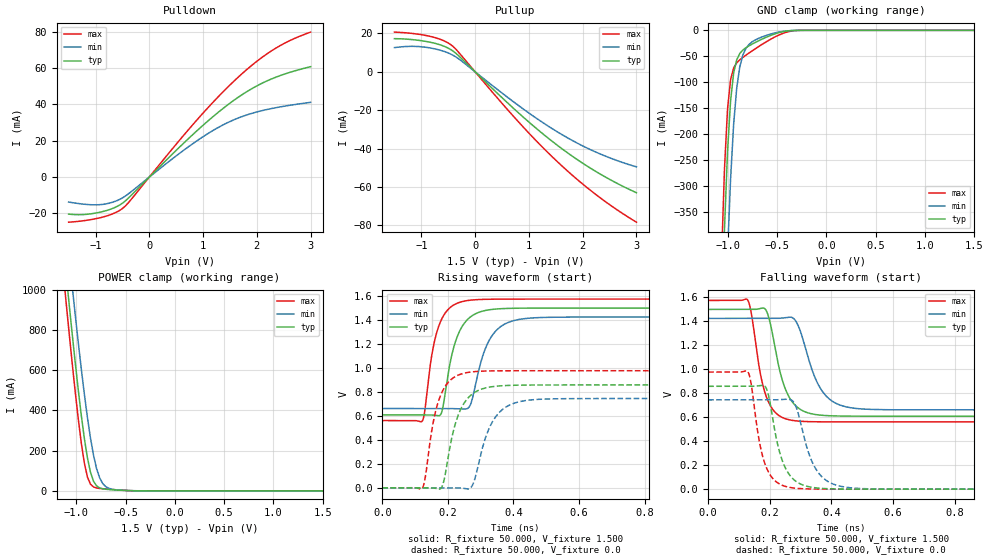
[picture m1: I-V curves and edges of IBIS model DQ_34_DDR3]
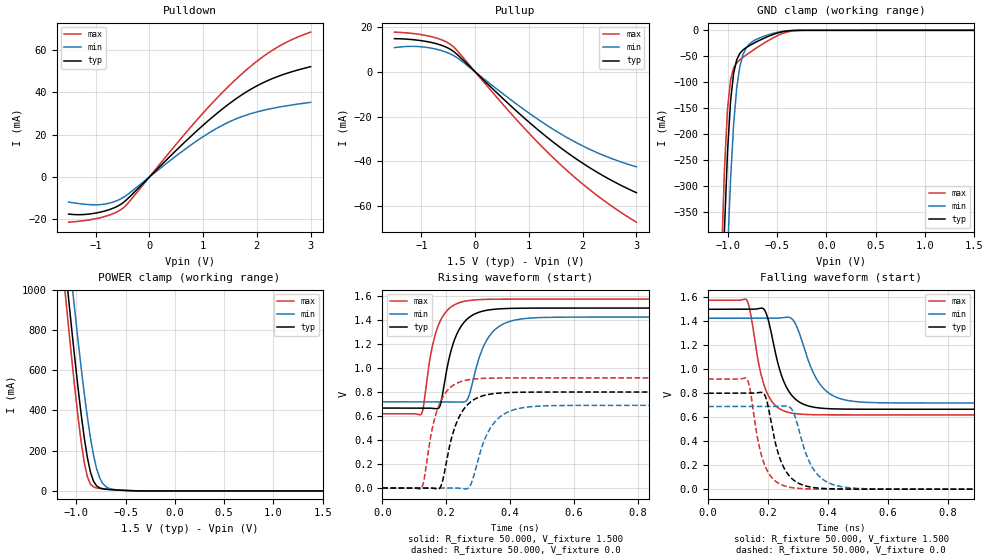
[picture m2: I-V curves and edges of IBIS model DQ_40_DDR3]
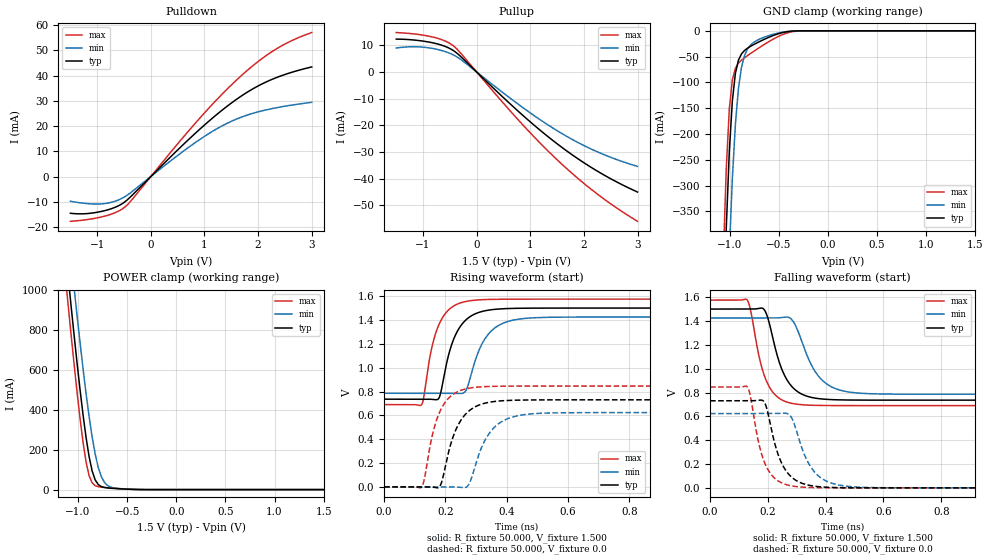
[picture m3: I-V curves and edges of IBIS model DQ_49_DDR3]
[IBIS ver] 5.0
[File name]  t527_ddr3_allwinner.ibs
[File Rev]  1.0
[Date]   November 14, 2022
|   Component IO_DDR3
[Component] IO_DDR3
[Manufacturer] allwinner
[Package]
| variable   typ   min   max
R_pkg   0.0   0.0   0.0
L_pkg   0.0H   0.0H   0.0H
C_pkg   0.0F   0.0F   0.0F
[Pin]  signal_name   model_name   R_pin   L_pin   C_pin
AK33	SA0	CA_DDR3	0.46485	3.05E-09	1.51E-12
AG30	SA1	CA_DDR3	0.29715	2.09E-09	1.18E-12
AJ33	SA2	CA_DDR3	0.41469	2.81E-09	1.29E-12
AL27	SA3	CA_DDR3	0.39476	2.64E-09	1.37E-12
AH25	SA4	CA_DDR3	0.26569	1.83E-09	1.18E-12
AK27	SA5	CA_DDR3	0.32888	2.30E-09	1.35E-12
AN27	SA6	CA_DDR3	0.44924	3.13E-09	1.41E-12
AM33	SA7	CA_DDR3	0.56341	3.55E-09	1.70E-12
AL25	SA8	CA_DDR3	0.37181	2.57E-09	1.30E-12
AJ31	SA9	CA_DDR3	0.35333	2.55E-09	1.35E-12
AG29	SA10	CA_DDR3	0.25993	1.77E-09	1.12E-12
AJ32	SA11	CA_DDR3	0.39611	2.51E-09	1.34E-12
AL31	SA12	CA_DDR3	0.44743	2.77E-09	1.52E-12
AK29	SA13	CA_DDR3	0.35872	2.57E-09	1.27E-12
AM28	SA14	CA_DDR3	0.39678	2.69E-09	1.41E-12
AN29	SA15	CA_DDR3	0.49091	3.23E-09	1.49E-12
AJ27	SA16	CA_DDR3	0.29463	1.99E-09	1.15E-12
AJ30	SA17	CA_DDR3	0.37981	2.66E-09	1.46E-12
AL29	SACT	CA_DDR3	0.39833	2.73E-09	1.39E-12
AK25	SBA0	CA_DDR3	0.30769	2.31E-09	1.27E-12
AJ25	SBA1	CA_DDR3	0.28737	2.13E-09	1.22E-12
AN26	SBG0	CA_DDR3	0.41285	2.93E-09	1.40E-12
AM27	SBG1	CA_DDR3	0.39343	2.72E-09	1.37E-12
AM31	SCKE0	CA_DDR3	0.48683	2.99E-09	1.55E-12
AN30	SCKN	CA_DDR3	0.54668	3.52E-09	1.75E-12
AM30	SCKP	CA_DDR3	0.56055	3.52E-09	1.79E-12
AN32	SCS0	CA_DDR3	0.547	3.48E-09	1.70E-12
AM32	SCS1	CA_DDR3	0.49003	3.16E-09	1.61E-12
AL32	SODT0	CA_DDR3	0.45306	2.93E-09	1.55E-12
AL33	SODT1	CA_DDR3	0.50697	3.45E-09	1.63E-12
AE28	SDQ0	DQ_DDR3	0.17568	1.28E-09	8.75E-13
AE27	SDQ1	DQ_DDR3	0.1304	1.08E-09	7.74E-13
AG32	SDQ2	DQ_DDR3	0.33905	2.32E-09	1.24E-12
AH33	SDQ3	DQ_DDR3	0.39769	2.70E-09	1.33E-12
AE30	SDQ4	DQ_DDR3	0.28178	1.91E-09	1.10E-12
AD32	SDQ5	DQ_DDR3	0.321	2.18E-09	1.25E-12
AE31	SDQ6	DQ_DDR3	0.29187	2.02E-09	1.25E-12
AD33	SDQ7	DQ_DDR3	0.37551	2.47E-09	1.28E-12
AC27	SDQ8	DQ_DDR3	0.14886	1.15E-09	8.01E-13
AC28	SDQ9	DQ_DDR3	0.17895	1.33E-09	8.71E-13
AC30	SDQ10	DQ_DDR3	0.2394	1.64E-09	9.79E-13
AC31	SDQ11	DQ_DDR3	0.28218	1.96E-09	1.10E-12
AA33	SDQ12	DQ_DDR3	0.36554	2.31E-09	1.30E-12
AA31	SDQ13	DQ_DDR3	0.30839	2.01E-09	1.17E-12
AA28	SDQ14	DQ_DDR3	0.15212	1.33E-09	7.90E-13
AA27	SDQ15	DQ_DDR3	0.12387	1.09E-09	8.46E-13
AM25	SDQ16	DQ_DDR3	0.38757	2.65E-09	1.42E-12
AN25	SDQ17	DQ_DDR3	0.42985	2.80E-09	1.31E-12
AH23	SDQ18	DQ_DDR3	0.23213	1.61E-09	1.01E-12
AK23	SDQ19	DQ_DDR3	0.2673	1.84E-09	1.09E-12
AL23	SDQ20	DQ_DDR3	0.31232	2.08E-09	1.19E-12
AM22	SDQ21	DQ_DDR3	0.36632	2.33E-09	1.35E-12
AN21	SDQ22	DQ_DDR3	0.40833	2.68E-09	1.35E-12
AG21	SDQ23	DQ_DDR3	0.19578	1.35E-09	8.93E-13
AG19	SDQ24	DQ_DDR3	0.16051	1.30E-09	9.01E-13
AH19	SDQ25	DQ_DDR3	0.21804	1.52E-09	9.58E-13
AK19	SDQ26	DQ_DDR3	0.30686	2.04E-09	1.15E-12
AL19	SDQ27	DQ_DDR3	0.32712	2.27E-09	1.20E-12
AM21	SDQ28	DQ_DDR3	0.34396	2.30E-09	1.28E-12
AL21	SDQ29	DQ_DDR3	0.3528	2.39E-09	1.25E-12
AK21	SDQ30	DQ_DDR3	0.28636	1.94E-09	1.13E-12
AH21	SDQ31	DQ_DDR3	0.24326	1.59E-09	1.01E-12
AE33	SDQM0	DQ_DDR3	0.34788	2.43E-09	1.21E-12
AC32	SDQM1	DQ_DDR3	0.3269	2.19E-09	1.20E-12
AM24	SDQM2	DQ_DDR3	0.43004	2.77E-09	1.41E-12
AN20	SDQM3	DQ_DDR3	0.40177	2.76E-09	1.35E-12
AF33	SDQS0N	DQ_DDR3	0.39941	2.68E-09	1.37E-12
AF32	SDQS0P	DQ_DDR3	0.38352	2.63E-09	1.39E-12
AB33	SDQS1N	DQ_DDR3	0.39373	2.57E-09	1.37E-12
AB32	SDQS1P	DQ_DDR3	0.37061	2.44E-09	1.35E-12
AN23	SDQS2N	DQ_DDR3	0.42279	2.70E-09	1.46E-12
AM23	SDQS2P	DQ_DDR3	0.4289	2.74E-09	1.46E-12
AN19	SDQS3N	DQ_DDR3	0.43012	2.82E-09	1.45E-12
AM19	SDQS3P	DQ_DDR3	0.43756	2.88E-09	1.47E-12
[Model Selector] DQ_DDR3
DQ_34_DDR3   The driving resistance is set to be 34 ohm
DQ_40_DDR3   The driving resistance is set to be 40 ohm
DQ_49_DDR3   The driving resistance is set to be 49 ohm
DQ_60_DDR3   The driving resistance is set to be 60 ohm
DQ_80_DDR3   The driving resistance is set to be 80 ohm
DQ_120_DDR3   The driving resistance is set to be 120 ohm
DQ_240_DDR3   The driving resistance is set to be 240 ohm
DQ_ODT_34_DDR3   The pullup ODT resistance is set to be 34 ohm
DQ_ODT_40_DDR3   The pullup ODT resistance is set to be 40 ohm
DQ_ODT_60_DDR3   The pullup ODT resistance is set to be 60 ohm
DQ_ODT_80_DDR3   The pullup ODT resistance is set to be 80 ohm
DQ_ODT_120_DDR3   The pullup ODT resistance is set to be 120 ohm
DQ_ODT_240_DDR3   The pullup ODT resistance is set to be 240 ohm
[Model Selector] CA_DDR3
CA_34_DDR3   The driving resistance is set to be 34 ohm
CA_40_DDR3   The driving resistance is set to be 40 ohm
CA_49_DDR3   The driving resistance is set to be 49 ohm
CA_60_DDR3   The driving resistance is set to be 60 ohm
CA_80_DDR3   The driving resistance is set to be 80 ohm
CA_120_DDR3   The driving resistance is set to be 120 ohm
CA_240_DDR3   The driving resistance is set to be 240 ohm
| Models and submodels in the file (20): DQ_34_DDR3 (I/O), DQ_40_DDR3 (I/O), DQ_49_DDR3 (I/O), DQ_60_DDR3 (I/O), DQ_80_DDR3 (I/O), DQ_120_DDR3 (I/O), DQ_240_DDR3 (I/O), DQ_ODT_34_DDR3 (Input), DQ_ODT_40_DDR3 (Input), DQ_ODT_60_DDR3 (Input), DQ_ODT_80_DDR3 (Input), DQ_ODT_120_DDR3 (Input), DQ_ODT_240_DDR3 (Input), CA_34_DDR3 (3-state), CA_40_DDR3 (3-state), CA_49_DDR3 (3-state), CA_60_DDR3 (3-state), CA_80_DDR3 (3-state), CA_120_DDR3 (3-state), CA_240_DDR3 (3-state)
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|   Model DQ_34_DDR3
[Model] DQ_34_DDR3
Model_type I/O
Polarity   Non-Inverting
Enable   Active-Low
Vinl =  0.750V
Vinh =  0.750V
C_comp   1.539pF   1.503pF   1.584pF
C_comp_pullup   0.490pF   0.473pF   0.511pF
C_comp_pulldown   0.784pF   0.765pF   0.809pF
[Model Spec]
Vinh   0.750V   0.712V   0.787V
Vinl   0.750V   0.712V   0.787V
[Temperature Range]   25.000   0.125k   -40.000
[Voltage Range]   1.500V   1.425V   1.575V
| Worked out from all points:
|   slope of the pulldown table from 0 to 0.225 V, typ, clamps not added: 33.7 ohm
|   slope of the pullup table from 0 to 0.225 V, typ, clamps not added: 36.8 ohm
|   GND clamp passes 1 mA (typ) near -0.39 V on its own axis
|   POWER clamp passes 1 mA (typ) near -0.43 V on its own axis
|   rising waveform, R_fixture 50.000, V_fixture 1.500: 20-80 % time 46.9ps typ, 54.8ps min, 40.6ps max; typ from 0.609 V to 1.5 V
|   rising waveform, R_fixture 50.000, V_fixture 0.0: 20-80 % time 49.3ps typ, 57.5ps min, 42.7ps max; typ from 0 V to 0.858 V
|   falling waveform, R_fixture 50.000, V_fixture 1.500: 20-80 % time 52.3ps typ, 66.1ps min, 43.9ps max; typ from 1.5 V to 0.609 V
|   falling waveform, R_fixture 50.000, V_fixture 0.0: 20-80 % time 48.5ps typ, 58.4ps min, 41.6ps max; typ from 0.858 V to 0 V
[Pulldown]
|Voltage   I(typ)   I(min)   I(max)
-1.5V     -20.37mA   -13.73mA   -24.82mA
-1.224V   -20.61mA   -14.88mA   -24.02mA
-902mV    -19.21mA   -15.12mA   -22.27mA
-672mV    -17.13mA   -13.73mA   -20.12mA
-488mV    -14.12mA   -11.24mA   -17.02mA
846mV     24.43mA    19.17mA    30.12mA
1.214V    34.01mA    26.17mA    42.12mA
1.582V    42.47mA    31.67mA    53.04mA
1.95V     49.41mA    35.46mA    62.59mA
2.272V    54.03mA    37.74mA    69.5mA
2.594V    57.48mA    39.45mA    74.87mA
3V        60.8mA     41.16mA    79.84mA
[Pullup]
|Voltage   I(typ)   I(min)   I(max)
-1.5V     17.28mA    12.62mA    20.7mA
-1.232V   16.94mA    13.25mA    20.18mA
-956mV    16.03mA    12.92mA    19.15mA
-680mV    14.32mA    11.49mA    17.25mA
-450mV    11.54mA    9.19mA     14.09mA
-312mV    8.499mA    6.896mA    10.36mA
792mV     -21.02mA   -17.25mA   -25.63mA
1.482V    -37.27mA   -30.47mA   -45.57mA
1.85V     -44.8mA    -36.42mA   -54.93mA
2.218V    -51.47mA   -41.49mA   -63.35mA
2.586V    -57.32mA   -45.69mA   -70.88mA
3V        -63mA      -49.53mA   -78.36mA
[GND_clamp]
|Voltage   I(typ)   I(min)   I(max)
-1.5V     -3.542A    -3.63A     -3.522A
-1.066V   -574.9mA   -807mA     -446.3mA
-1.035V   -383.4mA   -606.8mA   -267.9mA
-1.004V   -234mA     -430.3mA   -151.7mA
-973mV    -135.8mA   -286.6mA   -95.12mA
-942mV    -82.41mA   -181mA     -72.43mA
-911mV    -56.9mA    -111.8mA   -62.62mA
-880mV    -44.73mA   -70.74mA   -56.82mA
-849mV    -38.08mA   -47.74mA   -52.2mA
-756mV    -26.67mA   -22.36mA   -39.79mA
-322mV    -204.2uA   -258.8uA   -609.2uA
1.5V      0A         0A         0A
[POWER_clamp]
|Voltage   I(typ)   I(min)   I(max)
-1.5V     3.137A     3.334A     3.027A
-1.135V   1.239A     1.47A      1.1A
-1.104V   1.085A     1.319A     943.4mA
-1.073V   933.1mA    1.169A     789.3mA
-1.042V   784.9mA    1.022A     639.4mA
-1.011V   641.4mA    879mA      495.4mA
-918mV    261.7mA    482mA      139mA
-887mV    165.4mA    366.5mA    69.82mA
-825mV    48.42mA    178mA      19.77mA
-732mV    10.66mA    37.14mA    10.79mA
-608mV    4.953mA    6.242mA    6.01mA
1.5V      0A         0A         0A
[Ramp]
| variable   typ   min   max
dV/dt_r   0.515/49.349p   0.447/57.578p   0.586/42.747p
dV/dt_f   0.535/52.396p   0.458/66.145p   0.608/43.939p
R_load = 50.000
[Rising Waveform]
R_fixture= 50.000
V_fixture= 1.500
V_fixture_min= 1.425
V_fixture_max= 1.575
|time   V(typ)   V(min)   V(max)
0s        608.7mV    661.9mV    561.4mV
122ps     608.9mV    661.9mV    558.4mV
153ps     607.5mV    661.8mV    1.141V
177ps     608.3mV    661.9mV    1.384V
216ps     1.155V     661mV      1.523V
252ps     1.381V     658mV      1.559V
271ps     1.431V     710.3mV    1.566V
328ps     1.486V     1.241V     1.574V
418ps     1.499V     1.406V     1.575V
2ns       1.5V       1.425V     1.575V
[Rising Waveform]
R_fixture= 50.000
V_fixture= 0.0
V_fixture_min= 0.0
V_fixture_max= 0.0
|time   V(typ)   V(min)   V(max)
0s        4.849uV    84.93uV    503.2nV
122ps     327.2uV    92.04uV    -3.084mV
156ps     -1.174mV   73.83uV    558.8mV
179ps     -3.345mV   291.4uV    780.6mV
223ps     538.4mV    464.1uV    929.4mV
259ps     742.7mV    -9.587mV   961.9mV
278ps     790.3mV    41.34mV    968.9mV
342ps     846.5mV    578.7mV    976.1mV
435ps     857.4mV    727.4mV    977.1mV
2ns       858.4mV    745.1mV    977.1mV
[Falling Waveform]
R_fixture= 50.000
V_fixture= 1.500
V_fixture_min= 1.425
V_fixture_max= 1.575
|time   V(typ)   V(min)   V(max)
0s        1.5V       1.425V     1.575V
128ps     1.5V       1.425V     1.579V
185ps     1.503V     1.425V     799.3mV
201ps     1.39V      1.425V     700.2mV
237ps     941.8mV    1.427V     602.9mV
267ps     750.4mV    1.436V     576.7mV
292ps     678.2mV    1.365V     568.1mV
368ps     616.8mV    826mV      561.9mV
458ps     609.4mV    681.5mV    561.4mV
2ns       608.7mV    661.9mV    561.4mV
[Falling Waveform]
R_fixture= 50.000
V_fixture= 0.0
V_fixture_min= 0.0
V_fixture_max= 0.0
|time   V(typ)   V(min)   V(max)
0s        858.4mV    745.1mV    977.1mV
129ps     858mV      745.1mV    978.8mV
166ps     863.6mV    745.2mV    398.1mV
184ps     859.4mV    745mV      213.3mV
231ps     316.1mV    746.8mV    44.02mV
264ps     119.5mV    749mV      14.86mV
286ps     63.4mV     682.2mV    7.224mV
350ps     10.61mV    166mV      892.5uV
444ps     781.3uV    17.24mV    40.54uV
2ns       4.859uV    85.02uV    504.5nV
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|   Model DQ_40_DDR3
[Model] DQ_40_DDR3
Model_type I/O
Polarity   Non-Inverting
Enable   Active-Low
Vinl =  0.750V
Vinh =  0.750V
C_comp   1.549pF   1.514pF   1.595pF
C_comp_pullup   0.497pF   0.480pF   0.518pF
C_comp_pulldown   0.788pF   0.768pF   0.812pF
[Model Spec]
Vinh   0.750V   0.712V   0.787V
Vinl   0.750V   0.712V   0.787V
[Temperature Range]   25.000   0.125k   -40.000
[Voltage Range]   1.500V   1.425V   1.575V
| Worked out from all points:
|   slope of the pulldown table from 0 to 0.225 V, typ, clamps not added: 39.3 ohm
|   slope of the pullup table from 0 to 0.225 V, typ, clamps not added: 42.9 ohm
|   GND clamp passes 1 mA (typ) near -0.39 V on its own axis
|   POWER clamp passes 1 mA (typ) near -0.43 V on its own axis
|   rising waveform, R_fixture 50.000, V_fixture 1.500: 20-80 % time 51.4ps typ, 59.4ps min, 44.7ps max; typ from 0.666 V to 1.5 V
|   rising waveform, R_fixture 50.000, V_fixture 0.0: 20-80 % time 54.1ps typ, 62.4ps min, 47.1ps max; typ from 0 V to 0.8 V
|   falling waveform, R_fixture 50.000, V_fixture 1.500: 20-80 % time 56.9ps typ, 71.3ps min, 48.1ps max; typ from 1.5 V to 0.666 V
|   falling waveform, R_fixture 50.000, V_fixture 0.0: 20-80 % time 52.8ps typ, 62.9ps min, 45.5ps max; typ from 0.8 V to 0 V
[Pulldown]
|Voltage   I(typ)   I(min)   I(max)
-1.5V     -17.46mA   -11.77mA   -21.27mA
-1.224V   -17.67mA   -12.76mA   -20.59mA
-902mV    -16.47mA   -12.96mA   -19.09mA
-672mV    -14.69mA   -11.77mA   -17.24mA
-488mV    -12.1mA    -9.636mA   -14.59mA
846mV     20.94mA    16.43mA    25.82mA
1.214V    29.15mA    22.43mA    36.1mA
1.582V    36.4mA     27.14mA    45.47mA
1.95V     42.35mA    30.39mA    53.65mA
2.272V    46.31mA    32.35mA    59.57mA
2.594V    49.27mA    33.81mA    64.18mA
3V        52.11mA    35.28mA    68.43mA
[Pullup]
|Voltage   I(typ)   I(min)   I(max)
-1.5V     14.81mA    10.82mA    17.75mA
-1.232V   14.52mA    11.36mA    17.3mA
-956mV    13.74mA    11.07mA    16.41mA
-680mV    12.27mA    9.846mA    14.79mA
-450mV    9.89mA     7.877mA    12.08mA
-312mV    7.285mA    5.911mA    8.877mA
792mV     -18.01mA   -14.78mA   -21.97mA
1.482V    -31.95mA   -26.12mA   -39.06mA
1.85V     -38.4mA    -31.22mA   -47.08mA
2.218V    -44.12mA   -35.56mA   -54.3mA
2.586V    -49.13mA   -39.16mA   -60.76mA
3V        -54mA      -42.46mA   -67.17mA
[GND_clamp]
|Voltage   I(typ)   I(min)   I(max)
-1.5V     -3.542A    -3.63A     -3.522A
-1.066V   -574.9mA   -807mA     -446.3mA
-1.035V   -383.4mA   -606.8mA   -267.9mA
-1.004V   -234mA     -430.3mA   -151.7mA
-973mV    -135.8mA   -286.6mA   -95.12mA
-942mV    -82.41mA   -181mA     -72.43mA
-911mV    -56.9mA    -111.8mA   -62.62mA
-880mV    -44.73mA   -70.74mA   -56.82mA
-849mV    -38.08mA   -47.74mA   -52.2mA
-756mV    -26.67mA   -22.36mA   -39.79mA
-322mV    -204.2uA   -258.8uA   -609.2uA
1.5V      0A         0A         0A
[POWER_clamp]
|Voltage   I(typ)   I(min)   I(max)
-1.5V     3.137A     3.334A     3.027A
-1.135V   1.239A     1.47A      1.1A
-1.104V   1.085A     1.319A     943.4mA
-1.073V   933.1mA    1.169A     789.3mA
-1.042V   784.9mA    1.022A     639.4mA
-1.011V   641.4mA    879mA      495.4mA
-918mV    261.7mA    482mA      139mA
-887mV    165.4mA    366.5mA    69.82mA
-825mV    48.42mA    178mA      19.77mA
-732mV    10.66mA    37.14mA    10.79mA
-608mV    4.953mA    6.242mA    6.01mA
1.5V      0A         0A         0A
[Ramp]
| variable   typ   min   max
dV/dt_r   0.480/54.140p   0.413/62.488p   0.551/47.199p
dV/dt_f   0.500/56.946p   0.424/71.390p   0.574/48.130p
R_load = 50.000
[Rising Waveform]
R_fixture= 50.000
V_fixture= 1.500
V_fixture_min= 1.425
V_fixture_max= 1.575
|time   V(typ)   V(min)   V(max)
0s        666.3mV    718.4mV    619.1mV
122ps     666.5mV    718.5mV    616.5mV
129ps     666.6mV    718.5mV    683.5mV
153ps     665.2mV    718.3mV    1.134V
177ps     667.1mV    718.4mV    1.366V
219ps     1.18V      717.3mV    1.516V
262ps     1.399V     724.6mV    1.559V
332ps     1.484V     1.254V     1.573V
432ps     1.499V     1.408V     1.575V
2ns       1.5V       1.425V     1.575V
[Rising Waveform]
R_fixture= 50.000
V_fixture= 0.0
V_fixture_min= 0.0
V_fixture_max= 0.0
|time   V(typ)   V(min)   V(max)
0s        5.302uV    92.09uV    554.4nV
122ps     296.2uV    99.24uV    -3.198mV
131ps     617.9uV    152.2uV    75.36mV
157ps     -1.356mV   83.67uV    503mV
179ps     -3.585mV   281.1uV    701.9mV
226ps     497.9mV    294.9uV    863.2mV
270ps     702.5mV    1.351mV    902.5mV
342ps     784.2mV    514.5mV    916mV
443ps     798.7mV    670.6mV    917.8mV
2ns       800.1mV    689.2mV    917.9mV
[Falling Waveform]
R_fixture= 50.000
V_fixture= 1.500
V_fixture_min= 1.425
V_fixture_max= 1.575
|time   V(typ)   V(min)   V(max)
0s        1.5V       1.425V     1.575V
129ps     1.5V       1.425V     1.575V
140ps     1.5V       1.425V     1.482V
185ps     1.503V     1.425V     878.5mV
202ps     1.396V     1.425V     773.5mV
241ps     975.7mV    1.428V     666.2mV
276ps     790.8mV    1.427V     635.4mV
371ps     676.8mV    881.9mV    620.1mV
472ps     667.1mV    736.6mV    619.2mV
2ns       666.3mV    718.4mV    619.1mV
[Falling Waveform]
R_fixture= 50.000
V_fixture= 0.0
V_fixture_min= 0.0
V_fixture_max= 0.0
|time   V(typ)   V(min)   V(max)
0s        800.1mV    689.1mV    917.9mV
130ps     799.8mV    689.1mV    916.1mV
140ps     800mV      689.2mV    826.4mV
166ps     804.8mV    689.2mV    406.9mV
185ps     798.1mV    688.9mV    223.8mV
235ps     287.3mV    691.2mV    48.48mV
274ps     100.7mV    679.9mV    14.97mV
353ps     13.05mV    159.5mV    1.386mV
450ps     1.073mV    18.35mV    74.68uV
2ns       5.314uV    92.17uV    555.4nV
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|   Model DQ_49_DDR3
[Model] DQ_49_DDR3
Model_type I/O
Polarity   Non-Inverting
Enable   Active-Low
Vinl =  0.750V
Vinh =  0.750V
C_comp   1.560pF   1.524pF   1.605pF
C_comp_pullup   0.503pF   0.487pF   0.525pF
C_comp_pulldown   0.792pF   0.773pF   0.816pF
[Model Spec]
Vinh   0.750V   0.712V   0.787V
Vinl   0.750V   0.712V   0.787V
[Temperature Range]   25.000   0.125k   -40.000
[Voltage Range]   1.500V   1.425V   1.575V
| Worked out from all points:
|   slope of the pulldown table from 0 to 0.225 V, typ, clamps not added: 47.1 ohm
|   slope of the pullup table from 0 to 0.225 V, typ, clamps not added: 51.5 ohm
|   GND clamp passes 1 mA (typ) near -0.39 V on its own axis
|   POWER clamp passes 1 mA (typ) near -0.43 V on its own axis
|   rising waveform, R_fixture 50.000, V_fixture 1.500: 20-80 % time 56.7ps typ, 64.9ps min, 49.8ps max; typ from 0.736 V to 1.5 V
|   rising waveform, R_fixture 50.000, V_fixture 0.0: 20-80 % time 59.8ps typ, 68.2ps min, 52.6ps max; typ from 0 V to 0.73 V
|   falling waveform, R_fixture 50.000, V_fixture 1.500: 20-80 % time 62.1ps typ, 76.8ps min, 53ps max; typ from 1.5 V to 0.736 V
|   falling waveform, R_fixture 50.000, V_fixture 0.0: 20-80 % time 57.8ps typ, 68ps min, 50.2ps max; typ from 0.73 V to 0 V
[Pulldown]
|Voltage   I(typ)   I(min)   I(max)
-1.5V     -14.55mA   -9.808mA   -17.73mA
-1.224V   -14.72mA   -10.63mA   -17.16mA
-902mV    -13.72mA   -10.8mA    -15.91mA
-672mV    -12.24mA   -9.806mA   -14.37mA
-488mV    -10.08mA   -8.03mA    -12.16mA
846mV     17.45mA    13.69mA    21.51mA
1.214V    24.29mA    18.7mA     30.08mA
1.582V    30.34mA    22.62mA    37.89mA
1.95V     35.29mA    25.33mA    44.71mA
2.272V    38.59mA    26.95mA    49.64mA
2.594V    41.06mA    28.18mA    53.48mA
3V        43.43mA    29.4mA     57.03mA
[Pullup]
|Voltage   I(typ)   I(min)   I(max)
-1.5V     12.34mA    9.016mA    14.79mA
-1.232V   12.1mA     9.465mA    14.41mA
-956mV    11.45mA    9.228mA    13.68mA
-680mV    10.23mA    8.205mA    12.32mA
-450mV    8.242mA    6.565mA    10.07mA
-312mV    6.071mA    4.926mA    7.397mA
792mV     -15.01mA   -12.32mA   -18.31mA
1.482V    -26.62mA   -21.77mA   -32.55mA
1.85V     -32mA      -26.02mA   -39.23mA
2.218V    -36.77mA   -29.64mA   -45.25mA
2.586V    -40.94mA   -32.64mA   -50.63mA
3V        -45mA      -35.38mA   -55.97mA
[GND_clamp]
|Voltage   I(typ)   I(min)   I(max)
-1.5V     -3.542A    -3.63A     -3.522A
-1.066V   -574.9mA   -807mA     -446.3mA
-1.035V   -383.4mA   -606.8mA   -267.9mA
-1.004V   -234mA     -430.3mA   -151.7mA
-973mV    -135.8mA   -286.6mA   -95.12mA
-942mV    -82.41mA   -181mA     -72.43mA
-911mV    -56.9mA    -111.8mA   -62.62mA
-880mV    -44.73mA   -70.74mA   -56.82mA
-849mV    -38.08mA   -47.74mA   -52.2mA
-756mV    -26.67mA   -22.36mA   -39.79mA
-322mV    -204.2uA   -258.8uA   -609.2uA
1.5V      0A         0A         0A
[POWER_clamp]
|Voltage   I(typ)   I(min)   I(max)
-1.5V     3.137A     3.334A     3.027A
-1.135V   1.239A     1.47A      1.1A
-1.104V   1.085A     1.319A     943.4mA
-1.073V   933.1mA    1.169A     789.3mA
-1.042V   784.9mA    1.022A     639.4mA
-1.011V   641.4mA    879mA      495.4mA
-918mV    261.7mA    482mA      139mA
-887mV    165.4mA    366.5mA    69.82mA
-825mV    48.42mA    178mA      19.77mA
-732mV    10.66mA    37.14mA    10.79mA
-608mV    4.953mA    6.242mA    6.01mA
1.5V      0A         0A         0A
[Ramp]
| variable   typ   min   max
dV/dt_r   0.438/59.871p   0.374/68.231p   0.507/52.650p
dV/dt_f   0.459/62.191p   0.384/76.860p   0.531/53.123p
R_load = 50.000
[Rising Waveform]
R_fixture= 50.000
V_fixture= 1.500
V_fixture_min= 1.425
V_fixture_max= 1.575
|time   V(typ)   V(min)   V(max)
0s        735.8mV    785.4mV    690.1mV
122ps     736mV      785.4mV    688.9mV
154ps     734.6mV    785.3mV    1.151V
177ps     738.3mV    785.4mV    1.352V
224ps     1.221V     784mV      1.513V
274ps     1.417V     854.3mV    1.559V
305ps     1.46V      1.118V     1.568V
338ps     1.482V     1.275V     1.572V
446ps     1.499V     1.409V     1.575V
2ns       1.5V       1.425V     1.575V
[Rising Waveform]
R_fixture= 50.000
V_fixture= 0.0
V_fixture_min= 0.0
V_fixture_max= 0.0
|time   V(typ)   V(min)   V(max)
0s        5.849uV    100.6uV    617.1nV
122ps     248.8uV    108.1uV    -2.224mV
157ps     -1.135mV   85.36uV    432.5mV
179ps     -2.997mV   256.7uV    615.1mV
230ps     455.5mV    41.77uV    785.3mV
282ps     648mV      53.27mV    830mV
316ps     692.7mV    320.2mV    839.3mV
350ps     713mV      472.8mV    843.1mV
460ps     728.8mV    607.1mV    845.6mV
2ns       730.4mV    623.3mV    845.8mV
[Falling Waveform]
R_fixture= 50.000
V_fixture= 1.500
V_fixture_min= 1.425
V_fixture_max= 1.575
|time   V(typ)   V(min)   V(max)
0s        1.5V       1.425V     1.575V
129ps     1.5V       1.425V     1.574V
140ps     1.5V       1.425V     1.493V
185ps     1.502V     1.425V     961.8mV
211ps     1.323V     1.425V     823.4mV
246ps     1.009V     1.429V     741.3mV
288ps     837.3mV    1.395V     706.4mV
373ps     749.5mV    943.9mV    691.7mV
480ps     736.9mV    804.2mV    690.2mV
2ns       735.8mV    785.4mV    690.1mV
[Falling Waveform]
R_fixture= 50.000
V_fixture= 0.0
V_fixture_min= 0.0
V_fixture_max= 0.0
|time   V(typ)   V(min)   V(max)
0s        730.4mV    623.3mV    845.8mV
130ps     730.1mV    623.2mV    843.6mV
166ps     734.3mV    623.3mV    402.1mV
185ps     727.5mV    623.1mV    234.8mV
238ps     263mV      625.5mV    54.39mV
283ps     88.01mV    584.2mV    15.94mV
324ps     33.43mV    292.8mV    5.243mV
355ps     16.12mV    152mV      2.239mV
464ps     1.235mV    16.34mV    113.8uV
2ns       5.865uV    100.6uV    617.2nV
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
